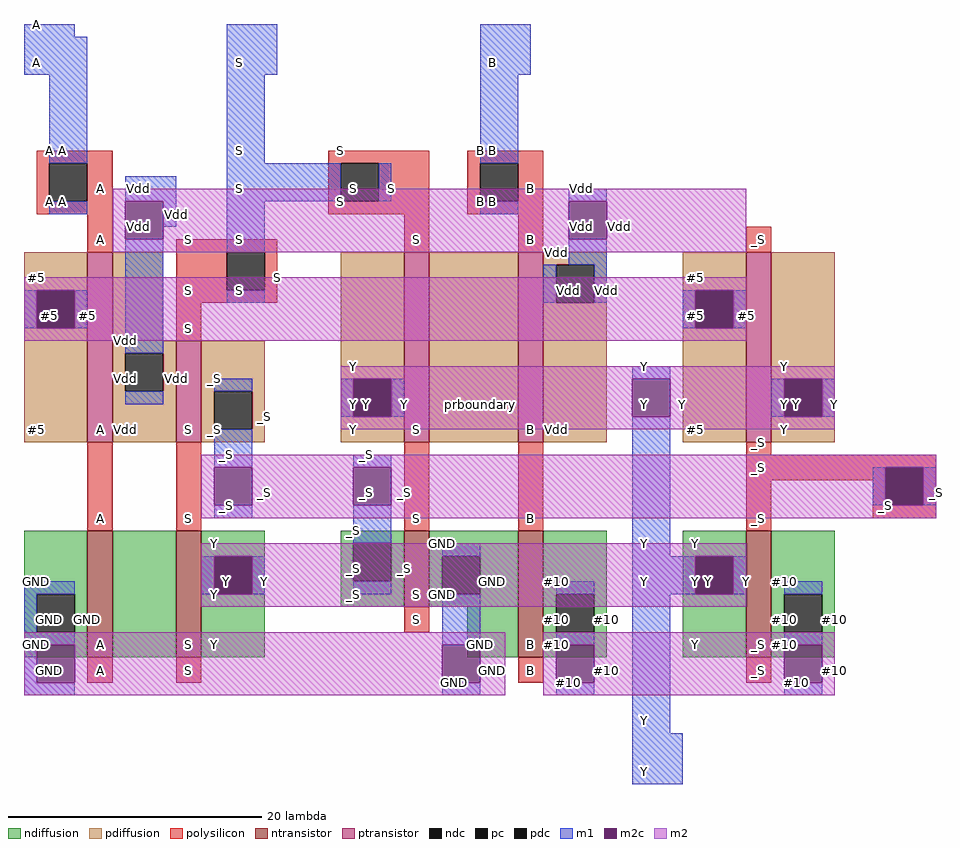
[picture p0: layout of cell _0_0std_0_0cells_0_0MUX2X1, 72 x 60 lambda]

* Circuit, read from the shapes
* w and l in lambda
.subckt _0_0std_0_0cells_0_0MUX2X1 Y B S A
M1 n1 A GND VSUBS nfet w=10 l=2
M2 Y S n1 VSUBS nfet w=10 l=2
M3 GND S _S VSUBS nfet w=6 l=2
M4 #10 B GND VSUBS nfet w=10 l=2
M5 #10 _S Y VSUBS nfet w=10 l=2
M6 Vdd A #5 NWELL pfet w=15 l=2
M7 _S S Vdd NWELL pfet w=8 l=2
M8 n2 S Y NWELL pfet w=15 l=2
M9 Vdd B n2 NWELL pfet w=15 l=2
M10 Y _S #5 NWELL pfet w=15 l=2
.ends

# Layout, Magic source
magic
tech sky130l
<< ndiffusion >>
rect 8 19 13 24
rect 8 16 9 19
rect 12 16 13 19
rect 8 14 13 16
rect 15 14 20 24
rect 22 22 27 24
rect 22 19 23 22
rect 26 19 27 22
rect 22 14 27 19
rect 33 23 38 24
rect 33 20 34 23
rect 37 20 38 23
rect 33 18 38 20
rect 40 22 47 24
rect 40 19 41 22
rect 44 19 47 22
rect 40 18 47 19
rect 43 14 47 18
rect 49 19 54 24
rect 49 16 50 19
rect 53 16 54 19
rect 49 14 54 16
rect 60 22 65 24
rect 60 19 61 22
rect 64 19 65 22
rect 60 14 65 19
rect 67 19 72 24
rect 67 16 68 19
rect 71 16 72 19
rect 67 14 72 16
<< ndc >>
rect 9 16 12 19
rect 23 19 26 22
rect 34 20 37 23
rect 41 19 44 22
rect 50 16 53 19
rect 61 19 64 22
rect 68 16 71 19
<< ntransistor >>
rect 13 14 15 24
rect 20 14 22 24
rect 38 18 40 24
rect 47 14 49 24
rect 65 14 67 24
<< pdiffusion >>
rect 8 43 13 46
rect 8 40 9 43
rect 12 40 13 43
rect 8 31 13 40
rect 15 39 19 46
rect 15 38 20 39
rect 15 35 16 38
rect 19 35 20 38
rect 15 31 20 35
rect 22 35 27 39
rect 22 32 23 35
rect 26 32 27 35
rect 22 31 27 32
rect 33 36 38 46
rect 33 33 34 36
rect 37 33 38 36
rect 33 31 38 33
rect 40 31 47 46
rect 49 45 54 46
rect 49 42 50 45
rect 53 42 54 45
rect 49 31 54 42
rect 60 43 65 46
rect 60 40 61 43
rect 64 40 65 43
rect 60 31 65 40
rect 67 36 72 46
rect 67 33 68 36
rect 71 33 72 36
rect 67 31 72 33
<< pdc >>
rect 9 40 12 43
rect 16 35 19 38
rect 23 32 26 35
rect 34 33 37 36
rect 50 42 53 45
rect 61 40 64 43
rect 68 33 71 36
<< ptransistor >>
rect 13 31 15 46
rect 20 31 22 39
rect 38 31 40 46
rect 47 31 49 46
rect 65 31 67 46
<< polysilicon >>
rect 9 53 15 54
rect 9 50 10 53
rect 13 50 15 53
rect 9 49 15 50
rect 32 53 40 54
rect 32 50 33 53
rect 36 50 40 53
rect 32 49 40 50
rect 43 53 49 54
rect 43 50 44 53
rect 47 50 49 53
rect 43 49 49 50
rect 13 46 15 49
rect 20 46 28 47
rect 38 46 40 49
rect 47 46 49 49
rect 65 46 67 48
rect 20 43 24 46
rect 27 43 28 46
rect 20 42 28 43
rect 20 39 22 42
rect 13 24 15 31
rect 20 24 22 31
rect 38 24 40 31
rect 47 24 49 31
rect 65 30 67 31
rect 65 29 80 30
rect 65 28 76 29
rect 65 24 67 28
rect 75 26 76 28
rect 79 26 80 29
rect 75 25 80 26
rect 38 16 40 18
rect 13 12 15 14
rect 20 12 22 14
rect 47 12 49 14
rect 65 12 67 14
<< pc >>
rect 10 50 13 53
rect 33 50 36 53
rect 44 50 47 53
rect 24 43 27 46
rect 76 26 79 29
<< m1 >>
rect 8 63 12 64
rect 8 60 13 63
rect 10 53 13 60
rect 24 60 28 64
rect 44 60 48 64
rect 24 53 27 60
rect 44 53 47 60
rect 10 49 13 50
rect 16 50 20 52
rect 19 48 20 50
rect 24 50 33 53
rect 36 50 37 53
rect 8 40 9 43
rect 12 40 13 43
rect 16 38 19 47
rect 24 46 27 50
rect 44 49 47 50
rect 51 50 54 51
rect 51 45 54 47
rect 24 42 27 43
rect 49 42 50 45
rect 53 42 54 45
rect 60 40 61 43
rect 64 40 65 43
rect 56 36 59 37
rect 16 34 19 35
rect 23 35 26 36
rect 33 33 34 36
rect 37 33 38 36
rect 67 33 68 36
rect 71 33 72 36
rect 23 29 26 32
rect 23 25 26 26
rect 34 29 37 30
rect 34 23 37 26
rect 8 19 12 20
rect 22 19 23 22
rect 26 19 27 22
rect 34 19 37 20
rect 41 22 44 23
rect 56 22 59 33
rect 75 26 76 29
rect 79 26 80 29
rect 8 16 9 19
rect 8 15 12 16
rect 8 12 9 15
rect 8 11 12 12
rect 41 15 44 19
rect 41 11 44 12
rect 50 19 53 20
rect 50 15 53 16
rect 50 11 53 12
rect 56 19 61 22
rect 64 19 65 22
rect 68 19 71 20
rect 56 8 59 19
rect 68 15 71 16
rect 68 11 71 12
rect 56 4 60 8
<< m2c >>
rect 16 47 19 50
rect 9 40 12 43
rect 51 47 54 50
rect 61 40 64 43
rect 34 33 37 36
rect 56 33 59 36
rect 68 33 71 36
rect 23 26 26 29
rect 34 26 37 29
rect 23 19 26 22
rect 76 26 79 29
rect 9 12 12 15
rect 41 12 44 15
rect 50 12 53 15
rect 61 19 64 22
rect 68 12 71 15
<< m2 >>
rect 15 50 65 51
rect 15 47 16 50
rect 19 47 51 50
rect 54 47 65 50
rect 15 46 65 47
rect 8 43 65 44
rect 8 40 9 43
rect 12 40 61 43
rect 64 40 65 43
rect 8 39 65 40
rect 33 36 72 37
rect 33 33 34 36
rect 37 33 56 36
rect 59 33 68 36
rect 71 33 72 36
rect 33 32 72 33
rect 22 29 80 30
rect 22 26 23 29
rect 26 26 34 29
rect 37 26 76 29
rect 79 26 80 29
rect 22 25 80 26
rect 22 22 65 23
rect 22 19 23 22
rect 26 19 61 22
rect 64 19 65 22
rect 22 18 65 19
rect 8 15 46 16
rect 8 12 9 15
rect 12 12 41 15
rect 44 12 46 15
rect 8 11 46 12
rect 49 15 72 16
rect 49 12 50 15
rect 53 12 68 15
rect 71 12 72 15
rect 49 11 72 12
<< labels >>
rlabel space 0 0 88 68 6 prboundary
rlabel ndiffusion 72 17 72 17 3 #10
rlabel polysilicon 76 26 76 26 3 _S
rlabel polysilicon 48 51 48 51 3 B
rlabel ndiffusion 68 15 68 15 3 #10
rlabel ndiffusion 68 17 68 17 3 #10
rlabel ndiffusion 68 20 68 20 3 #10
rlabel pdiffusion 68 32 68 32 3 Y
rlabel pdiffusion 68 37 68 37 3 Y
rlabel polysilicon 48 47 48 47 3 B
rlabel ntransistor 66 15 66 15 3 _S
rlabel polysilicon 66 25 66 25 3 _S
rlabel polysilicon 66 29 66 29 3 _S
rlabel polysilicon 66 30 66 30 3 _S
rlabel polysilicon 66 31 66 31 3 _S
rlabel ptransistor 66 32 66 32 3 _S
rlabel polysilicon 66 47 66 47 3 _S
rlabel pdiffusion 50 32 50 32 3 Vdd
rlabel pdiffusion 50 46 50 46 3 Vdd
rlabel polysilicon 44 50 44 50 3 B
rlabel polysilicon 44 51 44 51 3 B
rlabel polysilicon 44 54 44 54 3 B
rlabel ndiffusion 61 15 61 15 3 Y
rlabel ndiffusion 54 17 54 17 3 #10
rlabel ndiffusion 61 20 61 20 3 Y
rlabel ndiffusion 61 23 61 23 3 Y
rlabel pdiffusion 61 32 61 32 3 #5
rlabel pdiffusion 61 44 61 44 3 #5
rlabel ndiffusion 45 20 45 20 3 GND
rlabel ndiffusion 38 21 38 21 3 _S
rlabel polysilicon 48 25 48 25 3 B
rlabel ptransistor 48 32 48 32 3 B
rlabel polysilicon 39 47 39 47 3 S
rlabel ndiffusion 50 15 50 15 3 #10
rlabel ndiffusion 50 17 50 17 3 #10
rlabel ndiffusion 50 20 50 20 3 #10
rlabel ndiffusion 41 19 41 19 3 GND
rlabel ndiffusion 41 20 41 20 3 GND
rlabel ndiffusion 41 23 41 23 3 GND
rlabel ndiffusion 34 21 34 21 3 _S
rlabel polysilicon 39 25 39 25 3 S
rlabel ptransistor 39 32 39 32 3 S
rlabel polysilicon 66 13 66 13 3 _S
rlabel ntransistor 48 15 48 15 3 B
rlabel polysilicon 39 17 39 17 3 S
rlabel ntransistor 39 19 39 19 3 S
rlabel ndiffusion 34 24 34 24 3 _S
rlabel pdiffusion 34 32 34 32 3 Y
rlabel ndiffusion 44 15 44 15 3 GND
rlabel ndiffusion 34 19 34 19 3 _S
rlabel pdiffusion 27 33 27 33 3 _S
rlabel polysilicon 28 44 28 44 3 S
rlabel polysilicon 33 50 33 50 3 S
rlabel polysilicon 33 51 33 51 3 S
rlabel polysilicon 33 54 33 54 3 S
rlabel polysilicon 48 13 48 13 3 B
rlabel ndiffusion 23 15 23 15 3 Y
rlabel pdiffusion 23 32 23 32 3 _S
rlabel pdiffusion 23 33 23 33 3 _S
rlabel pdiffusion 23 36 23 36 3 _S
rlabel pdiffusion 20 36 20 36 3 Vdd
rlabel polysilicon 21 40 21 40 3 S
rlabel polysilicon 21 43 21 43 3 S
rlabel polysilicon 21 44 21 44 3 S
rlabel polysilicon 21 47 21 47 3 S
rlabel polysilicon 21 13 21 13 3 S
rlabel ntransistor 21 15 21 15 3 S
rlabel polysilicon 21 25 21 25 3 S
rlabel ptransistor 21 32 21 32 3 S
rlabel polysilicon 14 51 14 51 3 A
rlabel ndiffusion 13 17 13 17 3 GND
rlabel pdiffusion 16 32 16 32 3 Vdd
rlabel pdiffusion 16 36 16 36 3 Vdd
rlabel pdiffusion 16 39 16 39 3 Vdd
rlabel pdiffusion 16 40 16 40 3 Vdd
rlabel polysilicon 14 47 14 47 3 A
rlabel polysilicon 14 13 14 13 3 A
rlabel ntransistor 14 15 14 15 3 A
rlabel polysilicon 14 25 14 25 3 A
rlabel ptransistor 14 32 14 32 3 A
rlabel polysilicon 10 50 10 50 3 A
rlabel polysilicon 10 51 10 51 3 A
rlabel polysilicon 10 54 10 54 3 A
rlabel ndiffusion 9 15 9 15 3 GND
rlabel pdiffusion 9 32 9 32 3 #5
rlabel m1 76 27 76 27 3 _S
rlabel m1 69 20 69 20 3 #10
rlabel m1 68 34 68 34 3 Y
port 1 e
rlabel m1 61 41 61 41 3 #5
rlabel m1 57 20 57 20 3 Y
port 1 e
rlabel m1 57 23 57 23 3 Y
port 1 e
rlabel m1 57 37 57 37 3 Y
port 1 e
rlabel m1 54 43 54 43 3 Vdd
rlabel m1 52 46 52 46 3 Vdd
rlabel m1 52 51 52 51 3 Vdd
rlabel pdc 51 43 51 43 3 Vdd
rlabel m1 51 20 51 20 3 #10
rlabel m1 50 43 50 43 3 Vdd
rlabel m1 45 50 45 50 3 B
port 2 e
rlabel pc 45 51 45 51 3 B
port 2 e
rlabel m1 45 54 45 54 3 B
port 2 e
rlabel m1 45 61 45 61 3 B
port 2 e
rlabel ndc 42 20 42 20 3 GND
rlabel m1 42 23 42 23 3 GND
rlabel m1 35 20 35 20 3 _S
rlabel ndc 35 21 35 21 3 _S
rlabel m1 35 24 35 24 3 _S
rlabel m1 35 30 35 30 3 _S
rlabel m1 37 51 37 51 3 S
port 3 e
rlabel pc 34 51 34 51 3 S
port 3 e
rlabel m1 25 43 25 43 3 S
port 3 e
rlabel pc 25 44 25 44 3 S
port 3 e
rlabel m1 25 47 25 47 3 S
port 3 e
rlabel m1 25 51 25 51 3 S
port 3 e
rlabel m1 25 54 25 54 3 S
port 3 e
rlabel m1 25 61 25 61 3 S
port 3 e
rlabel m1 24 26 24 26 3 _S
rlabel m1 24 30 24 30 3 _S
rlabel pdc 24 33 24 33 3 _S
rlabel m1 24 36 24 36 3 _S
rlabel m1 20 49 20 49 3 Vdd
rlabel m1 69 12 69 12 3 #10
rlabel m1 69 16 69 16 3 #10
rlabel ndc 69 17 69 17 3 #10
rlabel m1 51 12 51 12 3 #10
rlabel m1 51 16 51 16 3 #10
rlabel ndc 51 17 51 17 3 #10
rlabel m1 17 51 17 51 3 Vdd
rlabel m1 17 35 17 35 3 Vdd
rlabel pdc 17 36 17 36 3 Vdd
rlabel m1 17 39 17 39 3 Vdd
rlabel m1 57 5 57 5 3 Y
port 1 e
rlabel m1 57 9 57 9 3 Y
port 1 e
rlabel m1 42 12 42 12 3 GND
rlabel m1 42 16 42 16 3 GND
rlabel m1 11 50 11 50 3 A
port 4 e
rlabel pc 11 51 11 51 3 A
port 4 e
rlabel m1 11 54 11 54 3 A
port 4 e
rlabel ndc 10 17 10 17 3 GND
rlabel m1 9 17 9 17 3 GND
rlabel m1 9 20 9 20 3 GND
rlabel m1 9 61 9 61 3 A
port 4 e
rlabel m1 9 64 9 64 3 A
port 4 e
rlabel m2 72 34 72 34 3 Y
port 1 e
rlabel m2c 69 34 69 34 3 Y
port 1 e
rlabel m2 60 34 60 34 3 Y
port 1 e
rlabel m2 72 13 72 13 3 #10
rlabel m2 80 27 80 27 3 _S
rlabel m2c 57 34 57 34 3 Y
port 1 e
rlabel m2c 69 13 69 13 3 #10
rlabel m2c 77 27 77 27 3 _S
rlabel m2 38 34 38 34 3 Y
port 1 e
rlabel m2 54 13 54 13 3 #10
rlabel m2 65 20 65 20 3 Y
port 1 e
rlabel m2 38 27 38 27 3 _S
rlabel m2c 35 34 35 34 3 Y
port 1 e
rlabel m2c 51 13 51 13 3 #10
rlabel m2c 62 20 62 20 3 Y
port 1 e
rlabel m2c 35 27 35 27 3 _S
rlabel m2 34 33 34 33 3 Y
port 1 e
rlabel m2 34 34 34 34 3 Y
port 1 e
rlabel m2 34 37 34 37 3 Y
port 1 e
rlabel m2 55 48 55 48 3 Vdd
rlabel m2 50 13 50 13 3 #10
rlabel m2 27 20 27 20 3 Y
port 1 e
rlabel m2 27 27 27 27 3 _S
rlabel m2c 52 48 52 48 3 Vdd
rlabel m2c 24 20 24 20 3 Y
port 1 e
rlabel m2c 24 27 24 27 3 _S
rlabel m2 20 48 20 48 3 Vdd
rlabel m2 45 13 45 13 3 GND
rlabel m2 23 19 23 19 3 Y
port 1 e
rlabel m2 23 20 23 20 3 Y
port 1 e
rlabel m2 23 23 23 23 3 Y
port 1 e
rlabel m2 23 26 23 26 3 _S
rlabel m2 23 27 23 27 3 _S
rlabel m2 23 30 23 30 3 _S
rlabel m2 65 41 65 41 3 #5
rlabel m2c 17 48 17 48 3 Vdd
rlabel m2c 42 13 42 13 3 GND
rlabel m2c 62 41 62 41 3 #5
rlabel m2 16 47 16 47 3 Vdd
rlabel m2 16 48 16 48 3 Vdd
rlabel m2 16 51 16 51 3 Vdd
rlabel m2 50 12 50 12 3 #10
rlabel m2 13 13 13 13 3 GND
rlabel m2 50 16 50 16 3 #10
rlabel m2 13 41 13 41 3 #5
rlabel m2c 10 13 10 13 3 GND
rlabel m2c 10 41 10 41 3 #5
rlabel m2 9 12 9 12 3 GND
rlabel m2 9 13 9 13 3 GND
rlabel m2 9 16 9 16 3 GND
rlabel m2 9 40 9 40 3 #5
rlabel m2 9 41 9 41 3 #5
rlabel m2 9 44 9 44 3 #5
<< end >>
